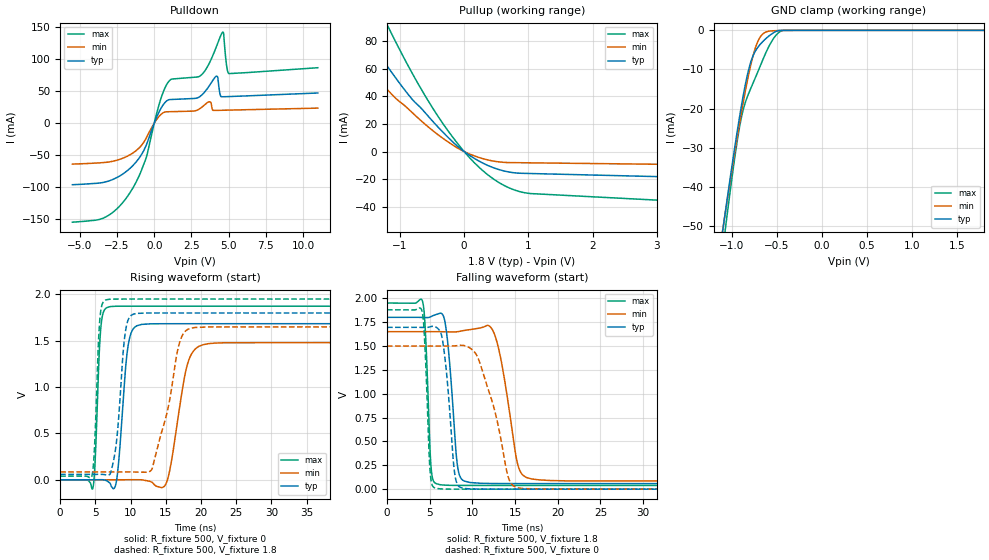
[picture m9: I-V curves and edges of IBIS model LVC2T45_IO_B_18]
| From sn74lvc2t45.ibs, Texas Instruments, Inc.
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[Model]   LVC2T45_IO_B_18
Model_type  I/O
Vinl=0.5775
Vinh=1.2675
Enable   Active-High
Vref =   0
Rref =   2000
Cref =   15p
Vmeas =   0.9
| variable   typ   min   max
C_comp   6.73pF   5.98pF   7.59pF
| C_pullup   9.39pF   7.15pF   10.43pF
| C_pulldown   10.51pF   7.48pF   15.07pF
| C_tri-state   6.73pF   5.98pF   7.59pF
[Temperature Range]   40   100   -40
| Ambient temperature   25   85   -40
[Voltage range]   1.8   1.65   1.95
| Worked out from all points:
|   slope of the pulldown table from 0 to 0.27 V, typ, clamps not added: 18.1 ohm
|   slope of the pullup table from 0 to 0.27 V, typ, clamps not added: 34.2 ohm
|   GND clamp passes 1 mA (typ) near -0.56 V on its own axis
|   rising waveform, R_fixture 500, V_fixture 0: 20-80 % time 1.01ns typ, 1.86ns min, 576ps max; typ from 0 V to 1.68 V
|   falling waveform, R_fixture 500, V_fixture 1.8: 20-80 % time 863ps typ, 1.62ns min, 498ps max; typ from 1.8 V to 0.058 V
|   rising waveform, R_fixture 500, V_fixture 1.8: 20-80 % time 1.04ns typ, 2.54ns min, 569ps max; typ from 0.058 V to 1.8 V
|   falling waveform, R_fixture 500, V_fixture 0: 20-80 % time 918ps typ, 2.47ns min, 491ps max; typ from 1.7 V to 0 V
[GND Clamp]
| LVC2T45_IO_B_18
|   Voltage   I(typ)   I(min)   I(max)
-5.5V     -897.8mA   -832.4mA   -1.016A
-1.11V    -52.82mA   -52.44mA   -57.96mA
-1.08V    -47.86mA   -47.85mA   -52.38mA
-1.05V    -42.97mA   -43.33mA   -46.9mA
-915mV    -22.35mA   -24.01mA   -24.95mA
-835mV    -12.29mA   -13.87mA   -17.5mA
-785mV    -7.843mA   -8.49mA    -14.64mA
-735mV    -5.197mA   -4.32mA    -11.95mA
-645mV    -2.635mA   -747.2uA   -6.981mA
-530mV    -538.4uA   -106uA     -1.891mA
-425mV    -4.773uA   -33.06uA   -14.75uA
1.8V      20.52pA    25.62nA    332.2pA
[Pulldown]
| LVC2T45_IO_B_18
|   Voltage   I(typ)   I(min)   I(max)
-5.5V     -96.03mA   -63.8mA    -154.5mA
-3.435V   -92.52mA   -61.5mA    -148.2mA
-2.01V    -77.66mA   -53.7mA    -120.8mA
-595mV    -37.48mA   -25.57mA   -57.72mA
285mV     15.7mA     9.56mA     25.86mA
850mV     35mA       17.81mA    60.93mA
3.185V    43.69mA    24.68mA    75.57mA
3.745V    59.94mA    33.33mA    95.67mA
4.2V      73.52mA    20mA       120.7mA
4.605V    41.29mA    20.2mA     142.1mA
5.01V     41.55mA    20.42mA    77.37mA
11V       47.14mA    23.52mA    86.61mA
[Pullup]
| LVC2T45_IO_B_18
|   Voltage   I(typ)   I(min)   I(max)
-5.5V     439.8mA    327.6mA    621.9mA
-2.005V   121.1mA    90.54mA    175.9mA
-1.595V   89.88mA    66.36mA    131.7mA
-1.18V    60.9mA     44.19mA    90.32mA
-825mV    38.86mA    29.01mA    58.29mA
-560mV    25.71mA    17.93mA    36.87mA
-25mV     881.5uA    578.3uA    1.394mA
220mV     -6.632mA   -4.15mA    -10.87mA
470mV     -11.98mA   -7.047mA   -20.34mA
710mV     -14.96mA   -8.027mA   -26.56mA
945mV     -15.85mA   -8.155mA   -29.92mA
11V       -27.22mA   -13.35mA   -54.55mA
[Ramp]
| LVC2T45_IO_B_18
| variable   typ   min   max
dV/dt_r   1.07/1.06E-09   0.94/1.95E-09   1.18/6.08E-10
dV/dt_f   1.07/8.94E-10   0.98/1.71E-09   1.17/5.14E-10
R_load = 500
[Rising Waveform]
| LVC2T45_IO_B_18
R_fixture =   500
C_fixture =   0
L_fixture =   0
V_fixture =   0
V_fixture_min = 0
V_fixture_max = 0
|   Time   V(typ)   V(min)   V(max)
0s        144.7pV    8.342nV    2.72nV
4.65ns    -23.58uV   -3.154uV   -89.25mV
5.73ns    990uV      5.699uV    1.597V
6.665ns   -12.7mV    -7.403uV   1.859V
7.96ns    -29.92mV   -15.16uV   1.872V
9.555ns   1.395V     594.9uV    1.873V
10.87ns   1.661V     674uV      1.873V
15.03ns   1.684V     -42.47mV   1.873V
19.76ns   1.684V     1.442V     1.873V
50ns      1.684V     1.48V      1.873V
[Falling Waveform]
| LVC2T45_IO_B_18
R_fixture =   500
C_fixture =   0
L_fixture =   0
V_fixture =   1.8
V_fixture_min = 1.65
V_fixture_max = 1.95
|   Time   V(typ)   V(min)   V(max)
0s        1.8V       1.65V      1.95V
4.17ns    1.799V     1.65V      1.966V
5.145ns   1.807V     1.65V      255.4mV
5.785ns   1.831V     1.65V      57.2mV
6.825ns   1.736V     1.649V     42.06mV
8.215ns   275.5mV    1.649V     39.49mV
9.075ns   84.17mV    1.663V     39.2mV
12.51ns   59.33mV    1.64V      39.04mV
16.33ns   58.41mV    122.4mV    39.03mV
50ns      58.33mV    84.5mV     39.02mV
[Rising Waveform]
| LVC2T45_IO_B_18
R_fixture =   500
C_fixture =   0
L_fixture =   0
V_fixture =   1.8
V_fixture_min = 1.65
V_fixture_max = 1.95
|   Time   V(typ)   V(min)   V(max)
0s        58.31mV    84.44mV    39.01mV
4.525ns   58.3mV     84.44mV    45.44mV
5.6ns     58.93mV    84.45mV    1.696V
6.4ns     54.39mV    84.44mV    1.937V
7.735ns   266.6mV    84.45mV    1.95V
9.175ns   1.546V     84.7mV     1.95V
10.24ns   1.782V     84.33mV    1.95V
13.06ns   1.8V       118.6mV    1.95V
18.16ns   1.8V       1.624V     1.95V
50ns      1.8V       1.65V      1.95V
[Falling Waveform]
| LVC2T45_IO_B_18
R_fixture =   500
C_fixture =   0
L_fixture =   0
V_fixture =   0
V_fixture_min = 0
V_fixture_max = 0
|   Time   V(typ)   V(min)   V(max)
0s        1.695V     1.5V       1.879V
4.1ns     1.694V     1.5V       1.867V
5.035ns   1.7V       1.5V       208.5mV
5.585ns   1.704V     1.5V       14.07mV
6.525ns   1.552V     1.499V     2.131mV
7.89ns    192.6mV    1.501V     270uV
8.625ns   17.47mV    1.508V     116.1uV
10.71ns   1.1mV      1.365V     33.25uV
15.06ns   59.53uV    21.24mV    23.12uV
50ns      18.17uV    34.81uV    9.824uV
